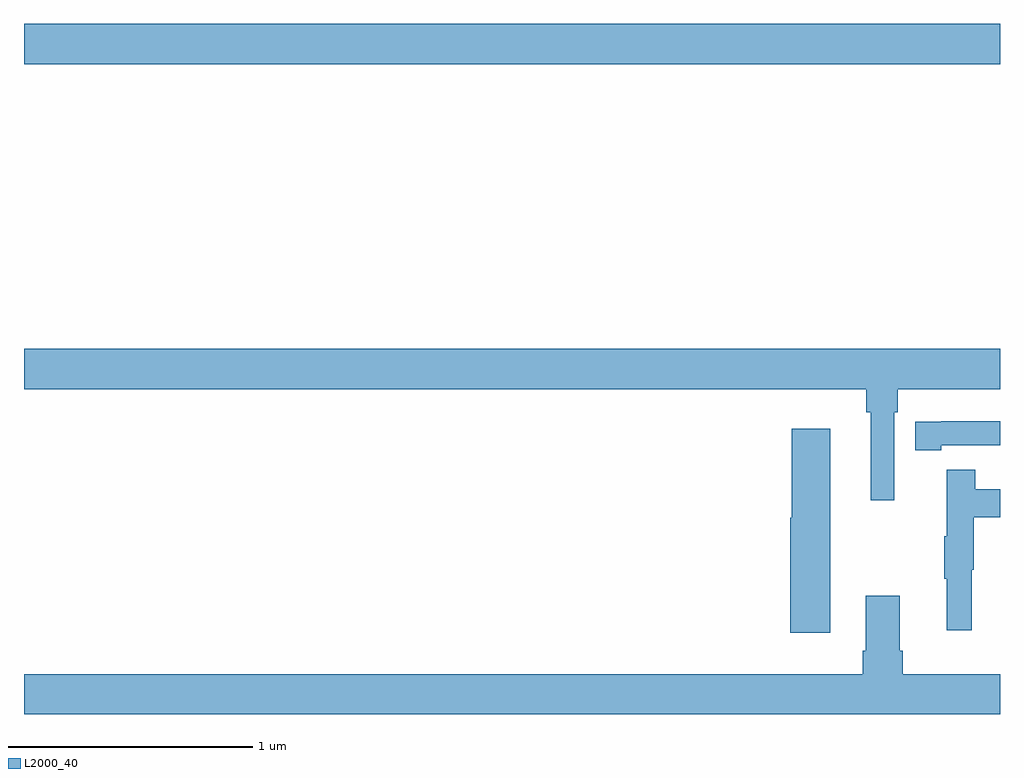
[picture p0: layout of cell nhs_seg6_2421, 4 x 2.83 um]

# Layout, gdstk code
import gdstk
lib = gdstk.Library(unit=1e-6, precision=1e-09)
def R(c, l, rs):  # rectangles x0, y0, x1, y1
    for r in rs: c.add(gdstk.rectangle(r[:2], r[2:], *l))
def P(c, l, *ps):  # polygons
    for p in ps: c.add(gdstk.Polygon(p, *l))
L2000_40 = (2000, 40)

nhs_seg6_2421 = lib.new_cell('nhs_seg6_2421')
R(nhs_seg6_2421, L2000_40, [(255,976.64,259,976.804)])
P(nhs_seg6_2421, L2000_40, [(258.567,975.212),(258.581,975.212),(258.581,975.308),(259,975.308),(259,975.472),(255,975.472),(255,975.308),(258.451,975.308),(258.451,975.212),(258.47,975.212),(258.47,974.853),(258.567,974.853)],
  [(258.76,975.078),(259,975.078),(259,975.175),(258.76,975.175),(258.76,975.174),(258.652,975.174),(258.652,975.058),(258.76,975.058)],
  [(258.304,975.145),(258.146,975.145),(258.146,974.781),(258.14,974.781),(258.14,974.31),(258.304,974.31)],
  [(258.884,974.568),(258.892,974.568),(258.892,974.782),(259,974.782),(259,974.898),(258.899,974.898),(258.899,974.977),(258.782,974.977),(258.782,974.705),(258.771,974.705),(258.771,974.531),(258.782,974.531),(258.782,974.319),(258.884,974.319)],
  [(259,974.14),(258.602,974.14),(258.602,974.236),(258.589,974.236),(258.589,974.461),(258.449,974.461),(258.449,974.236),(258.437,974.236),(258.437,974.14),(255,974.14),(255,973.976),(259,973.976)])

lib.write_gds('nhs_seg6_2421.gds')
